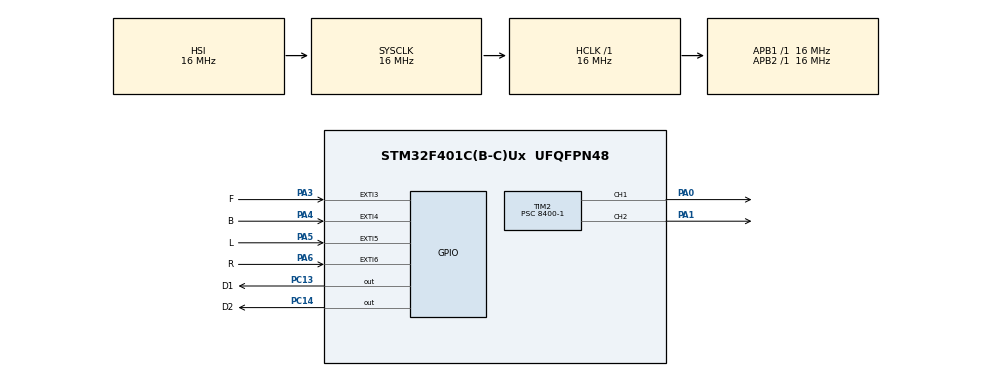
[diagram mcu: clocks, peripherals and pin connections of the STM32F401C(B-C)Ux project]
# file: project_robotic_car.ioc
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Mcu.Family=STM32F4
Mcu.Name=STM32F401C(B-C)Ux
Mcu.Package=UFQFPN48
NVIC.EXTI3_IRQn=true\:0\:0\:false\:false\:true\:true\:true\:true
NVIC.EXTI4_IRQn=true\:0\:0\:false\:false\:true\:true\:true\:true
NVIC.EXTI9_5_IRQn=true\:0\:0\:false\:false\:true\:true\:true\:true
NVIC.PriorityGroup=NVIC_PRIORITYGROUP_4
NVIC.RCC_IRQn=true\:0\:0\:false\:false\:true\:true\:false\:true
NVIC.TIM2_IRQn=true\:0\:0\:false\:false\:true\:true\:true\:true
PA0-WKUP.Signal=S_TIM2_CH1_ETR
PA1.Signal=S_TIM2_CH2
PA13.Mode=Serial_Wire
PA13.Signal=SYS_JTMS-SWDIO
PA14.Mode=Serial_Wire
PA14.Signal=SYS_JTCK-SWCLK
PA3.GPIO_Label=F
PA3.GPIO_ModeDefaultEXTI=GPIO_MODE_IT_FALLING
PA3.GPIO_PuPd=GPIO_PULLUP
PA3.Signal=GPXTI3
PA4.GPIO_Label=B
PA4.GPIO_ModeDefaultEXTI=GPIO_MODE_IT_FALLING
PA4.GPIO_PuPd=GPIO_PULLUP
PA4.Signal=GPXTI4
PA5.GPIO_Label=L
PA5.GPIO_ModeDefaultEXTI=GPIO_MODE_IT_FALLING
PA5.GPIO_PuPd=GPIO_PULLUP
PA5.Signal=GPXTI5
PA6.GPIO_Label=R
PA6.GPIO_ModeDefaultEXTI=GPIO_MODE_IT_FALLING
PA6.GPIO_PuPd=GPIO_PULLUP
PA6.Signal=GPXTI6
PC13-ANTI_TAMP.GPIO_Label=D1
PC13-ANTI_TAMP.PinState=GPIO_PIN_SET
PC13-ANTI_TAMP.Signal=GPIO_Output
PC14-OSC32_IN.GPIO_Label=D2
PC14-OSC32_IN.PinState=GPIO_PIN_SET
PC14-OSC32_IN.Signal=GPIO_Output
PH0\ -\ OSC_IN.Mode=HSE-External-Oscillator
PH0\ -\ OSC_IN.Signal=RCC_OSC_IN
PH1\ -\ OSC_OUT.Mode=HSE-External-Oscillator
PH1\ -\ OSC_OUT.Signal=RCC_OSC_OUT
ProjectManager.HeapSize=0x200
ProjectManager.StackSize=0x400
ProjectManager.TargetToolchain=STM32CubeIDE
RCC.AHBFreq_Value=16000000
RCC.APB1Freq_Value=16000000
RCC.APB1TimFreq_Value=16000000
RCC.APB2Freq_Value=16000000
RCC.APB2TimFreq_Value=16000000
RCC.CortexFreq_Value=16000000
RCC.HCLKFreq_Value=16000000
RCC.HSE_VALUE=25000000
RCC.HSI_VALUE=16000000
RCC.LSE_VALUE=32768
RCC.SYSCLKFreq_VALUE=16000000
RCC.VCOOutputFreq_Value=192000000
SH.S_TIM2_CH1_ETR.0=TIM2_CH1,PWM Generation1 CH1
SH.S_TIM2_CH2.0=TIM2_CH2,PWM Generation2 CH2
TIM2.AutoReloadPreload=TIM_AUTORELOAD_PRELOAD_ENABLE
TIM2.Channel-PWM\ Generation1\ CH1=TIM_CHANNEL_1
TIM2.Channel-PWM\ Generation2\ CH2=TIM_CHANNEL_2
TIM2.Period=10-1
TIM2.Prescaler=8400-1
TIM2.Pulse-PWM\ Generation1\ CH1=50
TIM2.Pulse-PWM\ Generation2\ CH2=50
VP_TIM2_VS_ClockSourceINT.Mode=Internal
board=custom

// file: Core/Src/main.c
/* USER CODE BEGIN Header */
/**
  ******************************************************************************
  * @file           : main.c
  * @brief          : Main program body
  ******************************************************************************
  * @attention
  *
  * Copyright (c) 2022 STMicroelectronics.
  * All rights reserved.
  *
  * This software is licensed under terms that can be found in the LICENSE file
  * in the root directory of this software component.
  * If no LICENSE file comes with this software, it is provided AS-IS.
  *
  ******************************************************************************
  */
/* USER CODE END Header */
#include "main.h"

TIM_HandleTypeDef htim2;

/* USER CODE BEGIN PV */
int DIR=0;
/*
* DIR      Direction
* 0  	   S
* 1        F
* 2        B
* 3        L
* 4        R
* 5        FR
* 6        FL
* 7        BR
* 8        BL
*/
/* USER CODE END PV */

void SystemClock_Config(void);
static void MX_GPIO_Init(void);
static void MX_TIM2_Init(void);
/* USER CODE BEGIN 0 */
void HAL_GPIO_EX1_CALLBACK(uint16_t GPIO_Pin){
	switch(GPIO_Pin){
	case F_PIN:
			DIR=1;
			break;
	case B_PIN:
			DIR=2;
			break;
	case L_PIN:
			DIR=3;
			break;
	case R_PIN:
			DIR=4;
			break;
	case FR_PIN:
			DIR=5;
			break;
	case FL_PIN:
			DIR=6;
			break;
	case BR_PIN:
			DIR=7;
			break;
	case BL_PIN:
			DIR=8;
			break;
	default:
			DIR=0;
			break;
	}

}
/* USER CODE END 0 */

int main(void)
{

  /* MCU Configuration--------------------------------------------------------*/

  /* Reset of all peripherals, Initializes the Flash interface and the Systick. */
  HAL_Init();

  /* Configure the system clock */
  SystemClock_Config();

  /* Initialize all configured peripherals */
  MX_GPIO_Init();
  MX_TIM2_Init();
  /* USER CODE BEGIN 2 */
  HAL_TIM_PWM_Start_IT(&htim2,TIM_CHANNEL_1);
  HAL_TIM_PWM_Start_IT(&htim2,TIM_CHANNEL_2);
  /* USER CODE END 2 */

  /* Infinite loop */
  while (1)
  {
	  switch(DIR){
	  case 0:
		  HAL_GPIO_WritePin(D1_GPIO_Port,D1_Pin, GPIO_PIN_SET);
		  HAL_GPIO_WritePin(D2_GPIO_Port,D2_Pin, GPIO_PIN_SET);
		  TIM2->CCR1=0;
		  TIM2->CCR2=0;
		  break;
	  case 1:
		  HAL_GPIO_WritePin(D1_GPIO_Port,D1_Pin, GPIO_PIN_SET);
		  HAL_GPIO_WritePin(D2_GPIO_Port,D2_Pin, GPIO_PIN_SET);
		  TIM2->CCR1=500;
		  TIM2->CCR2=500;
		  break;
	  case 2:
		  HAL_GPIO_WritePin(D1_GPIO_Port,D1_Pin, GPIO_PIN_SET);
		  HAL_GPIO_WritePin(D2_GPIO_Port,D2_Pin, GPIO_PIN_SET);
		  TIM2->CCR1=500;
		  TIM2->CCR2=500;
		  break;
	  case 3:
		  HAL_GPIO_WritePin(D1_GPIO_Port,D1_Pin, GPIO_PIN_SET);
		  HAL_GPIO_WritePin(D2_GPIO_Port,D2_Pin, GPIO_PIN_SET);
		  TIM2->CCR1=0;
		  TIM2->CCR2=500;
		  break;
	  case 4:
		  HAL_GPIO_WritePin(D1_GPIO_Port,D1_Pin, GPIO_PIN_SET);
		  HAL_GPIO_WritePin(D2_GPIO_Port,D2_Pin, GPIO_PIN_SET);
		  TIM2->CCR1=500;
		  TIM2->CCR2=0;
		  break;
	  case 5:
		  HAL_GPIO_WritePin(D1_GPIO_Port,D1_Pin, GPIO_PIN_SET);
		  HAL_GPIO_WritePin(D2_GPIO_Port,D2_Pin, GPIO_PIN_SET);
		  TIM2->CCR1=750;
		  TIM2->CCR2=250;
		  break;
	  case 6:
		  HAL_GPIO_WritePin(D1_GPIO_Port,D1_Pin, GPIO_PIN_SET);
		  HAL_GPIO_WritePin(D2_GPIO_Port,D2_Pin, GPIO_PIN_SET);
		  TIM2->CCR1=250;
		  TIM2->CCR2=750;
		  break;
	  case 7:
		  HAL_GPIO_WritePin(D1_GPIO_Port,D1_Pin, GPIO_PIN_SET);
		  HAL_GPIO_WritePin(D2_GPIO_Port,D2_Pin, GPIO_PIN_SET);
		  TIM2->CCR1=750;
		  TIM2->CCR2=250;
		  break;
	  case 8:
		  HAL_GPIO_WritePin(D1_GPIO_Port,D1_Pin, GPIO_PIN_SET);
		  HAL_GPIO_WritePin(D2_GPIO_Port,D2_Pin, GPIO_PIN_SET);
		  TIM2->CCR1=250;
		  TIM2->CCR2=750;
		  break;
	  default:
		  HAL_GPIO_WritePin(D1_GPIO_Port,D1_Pin, GPIO_PIN_SET);
		  HAL_GPIO_WritePin(D2_GPIO_Port,D2_Pin, GPIO_PIN_SET);
		  TIM2->CCR1=0;
		  TIM2->CCR2=0;
		  break;
	  }
  }
}

void SystemClock_Config(void)
{
  RCC_OscInitTypeDef RCC_OscInitStruct = {0};
  RCC_ClkInitTypeDef RCC_ClkInitStruct = {0};

  /** Configure the main internal regulator output voltage
  */
  __HAL_RCC_PWR_CLK_ENABLE();
  __HAL_PWR_VOLTAGESCALING_CONFIG(PWR_REGULATOR_VOLTAGE_SCALE2);

  /** Initializes the RCC Oscillators according to the specified parameters
  * in the RCC_OscInitTypeDef structure.
  */
  RCC_OscInitStruct.OscillatorType = RCC_OSCILLATORTYPE_HSI;
  RCC_OscInitStruct.HSIState = RCC_HSI_ON;
  RCC_OscInitStruct.HSICalibrationValue = RCC_HSICALIBRATION_DEFAULT;
  RCC_OscInitStruct.PLL.PLLState = RCC_PLL_NONE;
  if (HAL_RCC_OscConfig(&RCC_OscInitStruct) != HAL_OK)
  {
    Error_Handler();
  }

  /** Initializes the CPU, AHB and APB buses clocks
  */
  RCC_ClkInitStruct.ClockType = RCC_CLOCKTYPE_HCLK|RCC_CLOCKTYPE_SYSCLK
                              |RCC_CLOCKTYPE_PCLK1|RCC_CLOCKTYPE_PCLK2;
  RCC_ClkInitStruct.SYSCLKSource = RCC_SYSCLKSOURCE_HSI;
  RCC_ClkInitStruct.AHBCLKDivider = RCC_SYSCLK_DIV1;
  RCC_ClkInitStruct.APB1CLKDivider = RCC_HCLK_DIV1;
  RCC_ClkInitStruct.APB2CLKDivider = RCC_HCLK_DIV1;

  if (HAL_RCC_ClockConfig(&RCC_ClkInitStruct, FLASH_LATENCY_0) != HAL_OK)
  {
    Error_Handler();
  }
}

static void MX_TIM2_Init(void)
{

  TIM_ClockConfigTypeDef sClockSourceConfig = {0};
  TIM_MasterConfigTypeDef sMasterConfig = {0};
  TIM_OC_InitTypeDef sConfigOC = {0};

  htim2.Instance = TIM2;
  htim2.Init.Prescaler = 8400-1;
  htim2.Init.CounterMode = TIM_COUNTERMODE_UP;
  htim2.Init.Period = 10-1;
  htim2.Init.ClockDivision = TIM_CLOCKDIVISION_DIV1;
  htim2.Init.AutoReloadPreload = TIM_AUTORELOAD_PRELOAD_ENABLE;
  if (HAL_TIM_Base_Init(&htim2) != HAL_OK)
  {
    Error_Handler();
  }
  sClockSourceConfig.ClockSource = TIM_CLOCKSOURCE_INTERNAL;
  if (HAL_TIM_ConfigClockSource(&htim2, &sClockSourceConfig) != HAL_OK)
  {
    Error_Handler();
  }
  if (HAL_TIM_PWM_Init(&htim2) != HAL_OK)
  {
    Error_Handler();
  }
  sMasterConfig.MasterOutputTrigger = TIM_TRGO_RESET;
  sMasterConfig.MasterSlaveMode = TIM_MASTERSLAVEMODE_DISABLE;
  if (HAL_TIMEx_MasterConfigSynchronization(&htim2, &sMasterConfig) != HAL_OK)
  {
    Error_Handler();
  }
  sConfigOC.OCMode = TIM_OCMODE_PWM1;
  sConfigOC.Pulse = 50;
  sConfigOC.OCPolarity = TIM_OCPOLARITY_HIGH;
  sConfigOC.OCFastMode = TIM_OCFAST_DISABLE;
  if (HAL_TIM_PWM_ConfigChannel(&htim2, &sConfigOC, TIM_CHANNEL_1) != HAL_OK)
  {
    Error_Handler();
  }
  if (HAL_TIM_PWM_ConfigChannel(&htim2, &sConfigOC, TIM_CHANNEL_2) != HAL_OK)
  {
    Error_Handler();
  }
  HAL_TIM_MspPostInit(&htim2);

}

static void MX_GPIO_Init(void)
{
  GPIO_InitTypeDef GPIO_InitStruct = {0};

  /* GPIO Ports Clock Enable */
  __HAL_RCC_GPIOC_CLK_ENABLE();
  __HAL_RCC_GPIOH_CLK_ENABLE();
  __HAL_RCC_GPIOA_CLK_ENABLE();

  /*Configure GPIO pin Output Level */
  HAL_GPIO_WritePin(GPIOC, D1_Pin|D2_Pin, GPIO_PIN_SET);

  /*Configure GPIO pins : D1_Pin D2_Pin */
  GPIO_InitStruct.Pin = D1_Pin|D2_Pin;
  GPIO_InitStruct.Mode = GPIO_MODE_OUTPUT_PP;
  GPIO_InitStruct.Pull = GPIO_NOPULL;
  GPIO_InitStruct.Speed = GPIO_SPEED_FREQ_LOW;
  HAL_GPIO_Init(GPIOC, &GPIO_InitStruct);

  /*Configure GPIO pins : F_Pin B_Pin L_Pin R_Pin */
  GPIO_InitStruct.Pin = F_Pin|B_Pin|L_Pin|R_Pin;
  GPIO_InitStruct.Mode = GPIO_MODE_IT_FALLING;
  GPIO_InitStruct.Pull = GPIO_PULLUP;
  HAL_GPIO_Init(GPIOA, &GPIO_InitStruct);

  /* EXTI interrupt init*/
  HAL_NVIC_SetPriority(EXTI3_IRQn, 0, 0);
  HAL_NVIC_EnableIRQ(EXTI3_IRQn);

  HAL_NVIC_SetPriority(EXTI4_IRQn, 0, 0);
  HAL_NVIC_EnableIRQ(EXTI4_IRQn);

  HAL_NVIC_SetPriority(EXTI9_5_IRQn, 0, 0);
  HAL_NVIC_EnableIRQ(EXTI9_5_IRQn);

}

void Error_Handler(void)
{
  __disable_irq();
  while (1)
  {
  }
}
